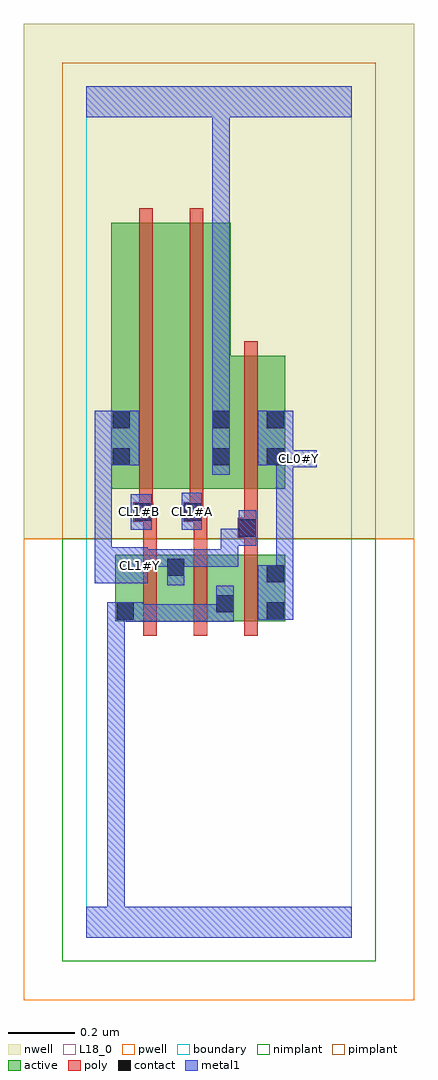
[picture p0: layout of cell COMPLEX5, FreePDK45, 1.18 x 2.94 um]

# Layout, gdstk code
import gdstk
lib = gdstk.Library(unit=1e-6, precision=1e-09)
def R(c, l, rs):  # rectangles x0, y0, x1, y1
    for r in rs: c.add(gdstk.rectangle(r[:2], r[2:], *l))
def A(c, l, x, y, w, h, nx, ny, dx, dy):  # array of equal rectangles
    R(c, l, [(x+i*dx, y+j*dy, x+i*dx+w, y+j*dy+h) for i in range(nx) for j in range(ny)])
active = (1, 0)
pwell = (2, 0)
nwell = (3, 0)
nimplant = (4, 0)
pimplant = (5, 0)
poly = (9, 0)
contact = (10, 0)
metal1 = (11, 0)
L18_0 = (18, 0)
boundary = (235, 0)

complex5 = lib.new_cell('COMPLEX5')
R(complex5, active, [(0.088,0.952,0.148,1.152), (0.088,0.952,0.3,1.152), (0.24,0.952,0.448,1.152), (0.388,0.952,0.6,1.152), (0.388,0.952,0.448,1.09), (0.54,0.952,0.6,1.152), (0.24,0.956,0.3,1.144), (0.076,1.35,0.136,2.15), (0.076,1.35,0.256,2.15), (0.256,1.35,0.436,2.15), (0.376,1.35,0.6,1.75), (0.376,1.35,0.436,2.15), (0.54,1.35,0.6,1.75)])
R(complex5, pwell, [(-0.188,-0.188,0.988,1.2)])
R(complex5, nwell, [(-0.188,1.2,0.988,2.748)])
R(complex5, nimplant, [(-0.072,-0.072,0.872,1.2)])
R(complex5, pimplant, [(-0.072,1.2,0.872,2.632)])
A(complex5, poly, 0.172, 0.908, 0.04, 0.288, 3, 1, 0.152, 0)
R(complex5, poly, [(0.172,1.156,0.212,1.29), (0.324,1.156,0.364,1.29), (0.476,1.156,0.516,1.242), (0.456,1.202,0.516,1.262), (0.476,1.222,0.516,1.346), (0.476,1.222,0.516,1.262), (0.476,1.222,0.516,1.262), (0.142,1.25,0.202,1.31), (0.162,1.25,0.202,1.29), (0.162,1.25,0.212,1.29), (0.292,1.25,0.352,1.31), (0.312,1.25,0.352,1.29), (0.312,1.25,0.364,1.29), (0.16,1.27,0.2,1.346), (0.312,1.27,0.352,1.346), (0.16,1.306,0.2,2.194), (0.312,1.306,0.352,2.194), (0.476,1.306,0.516,1.794)])
R(complex5, contact, [(0.092,0.956,0.144,1.008), (0.544,0.956,0.596,1.008), (0.392,0.978,0.444,1.03), (0.544,1.068,0.596,1.12), (0.244,1.088,0.296,1.14), (0.46,1.206,0.512,1.258), (0.146,1.254,0.198,1.306), (0.296,1.254,0.348,1.306), (0.08,1.42,0.132,1.472), (0.38,1.42,0.432,1.472), (0.544,1.42,0.596,1.472), (0.08,1.532,0.132,1.584), (0.38,1.532,0.432,1.584), (0.544,1.532,0.596,1.584)])
R(complex5, metal1, [(0,0,0.8,0.092), (0.064,0.04,0.116,0.092), (0.064,0.04,0.116,0.092), (0.064,0.04,0.116,0.092), (0.064,0.04,0.116,0.092), (0.064,0.04,0.116,0.092), (0.064,0.04,0.116,0.092), (0.064,0.04,0.116,0.092), (0.064,0.04,0.116,0.092), (0.064,0.04,0.116,1.008), (0.12,0.95,0.172,1.008), (0.12,0.95,0.312,1.002), (0.26,0.95,0.312,1.002), (0.26,0.95,0.312,1.002), (0.26,0.95,0.312,1.002), (0.26,0.95,0.444,1.002), (0.392,0.95,0.444,1.058), (0.064,0.956,0.116,1.008), (0.064,0.956,0.116,1.008), (0.064,0.956,0.116,1.008), (0.064,0.956,0.116,1.008), (0.064,0.956,0.116,1.008), (0.064,0.956,0.116,1.008), (0.064,0.956,0.116,1.008), (0.064,0.956,0.116,1.008), (0.064,0.956,0.172,1.008), (0.12,0.956,0.172,1.008), (0.516,0.956,0.624,1.12), (0.244,1.06,0.296,1.168), (0.026,1.066,0.186,1.174), (0.572,1.068,0.624,1.466), (0.134,1.116,0.186,1.168), (0.134,1.116,0.186,1.168), (0.134,1.116,0.296,1.168), (0.244,1.116,0.296,1.168), (0.244,1.116,0.296,1.168), (0.244,1.116,0.296,1.168), (0.244,1.116,0.296,1.168), (0.244,1.116,0.458,1.168), (0.406,1.116,0.458,1.23), (0.026,1.122,0.078,1.21), (0.026,1.158,0.078,1.21), (0.026,1.158,0.078,1.472), (0.406,1.178,0.512,1.23), (0.46,1.178,0.512,1.286), (0.134,1.226,0.198,1.334), (0.288,1.226,0.348,1.338), (0.38,1.392,0.432,1.612), (0.572,1.414,0.624,1.472), (0.572,1.414,0.624,1.466), (0.572,1.414,0.624,1.466), (0.572,1.414,0.694,1.466), (0.026,1.42,0.16,1.584), (0.516,1.42,0.624,1.584), (0.38,1.56,0.432,1.612), (0.38,1.56,0.432,1.612), (0.38,1.56,0.432,2.52), (0,2.468,0.8,2.56), (0.38,2.468,0.432,2.52), (0.38,2.468,0.432,2.52), (0.38,2.468,0.432,2.52), (0.38,2.468,0.432,2.52), (0.38,2.468,0.432,2.52), (0.38,2.468,0.432,2.52)])
R(complex5, L18_0, [(0,0,0.8,0.092), (0.064,0.04,0.116,0.092), (0.064,0.04,0.116,0.092), (0.064,0.04,0.116,0.092), (0.064,0.04,0.116,0.092), (0.064,0.04,0.116,0.092), (0.064,0.04,0.116,0.092), (0.064,0.04,0.116,0.092), (0.064,0.04,0.116,0.092), (0.064,0.04,0.116,1.008), (0.12,0.95,0.172,1.008), (0.12,0.95,0.312,1.002), (0.26,0.95,0.312,1.002), (0.26,0.95,0.312,1.002), (0.26,0.95,0.312,1.002), (0.26,0.95,0.444,1.002), (0.392,0.95,0.444,1.058), (0.064,0.956,0.116,1.008), (0.064,0.956,0.116,1.008), (0.064,0.956,0.116,1.008), (0.064,0.956,0.116,1.008), (0.064,0.956,0.116,1.008), (0.064,0.956,0.116,1.008), (0.064,0.956,0.116,1.008), (0.064,0.956,0.116,1.008), (0.064,0.956,0.172,1.008), (0.12,0.956,0.172,1.008), (0.516,0.956,0.624,1.12), (0.244,1.06,0.296,1.168), (0.026,1.066,0.186,1.174), (0.572,1.068,0.624,1.466), (0.134,1.094,0.186,1.146), (0.134,1.116,0.186,1.168), (0.134,1.116,0.186,1.168), (0.134,1.116,0.296,1.168), (0.244,1.116,0.296,1.168), (0.244,1.116,0.296,1.168), (0.244,1.116,0.296,1.168), (0.244,1.116,0.296,1.168), (0.244,1.116,0.458,1.168), (0.406,1.116,0.458,1.23), (0.026,1.122,0.078,1.21), (0.026,1.158,0.078,1.21), (0.026,1.158,0.078,1.472), (0.406,1.178,0.512,1.23), (0.46,1.178,0.512,1.286), (0.134,1.226,0.198,1.334), (0.288,1.226,0.348,1.338), (0.134,1.254,0.186,1.306), (0.294,1.254,0.346,1.306), (0.38,1.392,0.432,1.612), (0.572,1.414,0.624,1.466), (0.572,1.414,0.624,1.466), (0.572,1.414,0.624,1.472), (0.572,1.414,0.694,1.466), (0.614,1.414,0.666,1.466), (0.026,1.42,0.16,1.584), (0.516,1.42,0.624,1.584), (0.38,1.56,0.432,1.612), (0.38,1.56,0.432,1.612), (0.38,1.56,0.432,2.52), (0,2.468,0.8,2.56), (0.38,2.468,0.432,2.52), (0.38,2.468,0.432,2.52), (0.38,2.468,0.432,2.52), (0.38,2.468,0.432,2.52), (0.38,2.468,0.432,2.52), (0.38,2.468,0.432,2.52)])
R(complex5, boundary, [(0,0,0.8,2.56)])
complex5.add(gdstk.Label('CL0#Y', (0.64,1.44), layer=11, texttype=0))
complex5.add(gdstk.Label('CL1#A', (0.32,1.28), layer=11, texttype=0))
complex5.add(gdstk.Label('CL1#B', (0.16,1.28), layer=11, texttype=0))
complex5.add(gdstk.Label('CL1#Y', (0.16,1.12), layer=11, texttype=0))

lib.write_gds('COMPLEX5.gds')
